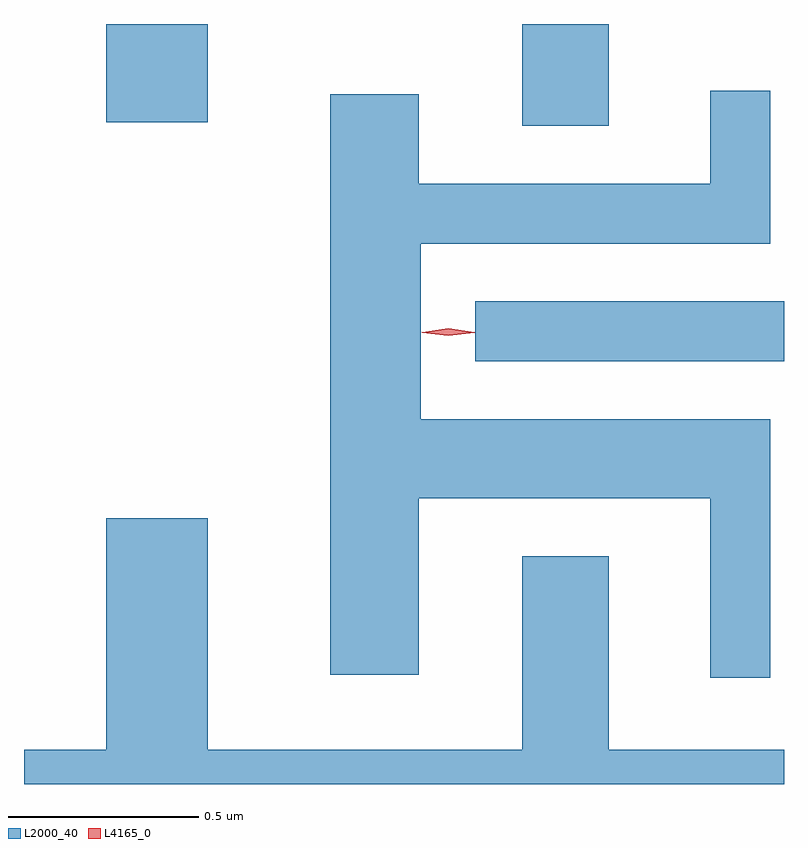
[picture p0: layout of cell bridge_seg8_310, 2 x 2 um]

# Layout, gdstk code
import gdstk
lib = gdstk.Library(unit=1e-6, precision=1e-09)
def R(c, l, rs):  # rectangles x0, y0, x1, y1
    for r in rs: c.add(gdstk.rectangle(r[:2], r[2:], *l))
def P(c, l, *ps):  # polygons
    for p in ps: c.add(gdstk.Polygon(p, *l))
L2000_40 = (2000, 40)
L4165_0 = (4165, 0)

bridge_seg8_310 = lib.new_cell('bridge_seg8_310')
R(bridge_seg8_310, L2000_40, [(1394.868,1857.686,1395.68,1857.844), (1394.991,1858.306,1395.219,1858.574), (1393.896,1858.316,1394.164,1858.574)])
P(bridge_seg8_310, L2000_40, [(1395.644,1857.534),(1394.724,1857.534),(1394.724,1857.996),(1395.644,1857.996),(1395.644,1858.398),(1395.486,1858.398),(1395.486,1858.154),(1394.719,1858.154),(1394.719,1858.389),(1394.486,1858.389),(1394.486,1856.861),(1394.719,1856.861),(1394.719,1857.326),(1395.486,1857.326),(1395.486,1856.853),(1395.644,1856.853)],
  [(1395.68,1856.664),(1395.219,1856.664),(1395.219,1857.174),(1394.991,1857.174),(1394.991,1856.664),(1394.164,1856.664),(1394.164,1857.274),(1393.896,1857.274),(1393.896,1856.664),(1393.68,1856.664),(1393.68,1856.574),(1395.68,1856.574)])
P(bridge_seg8_310, L4165_0, [(1394.796,1857.753),(1394.73,1857.762),(1394.73,1857.763),(1394.73,1857.763),(1394.796,1857.773),(1394.862,1857.763),(1394.863,1857.763),(1394.862,1857.762)],
  [(1394.797,1857.753),(1394.728,1857.762),(1394.727,1857.763),(1394.728,1857.763),(1394.797,1857.773),(1394.866,1857.763),(1394.866,1857.763),(1394.866,1857.762)])

lib.write_gds('bridge_seg8_310.gds')
